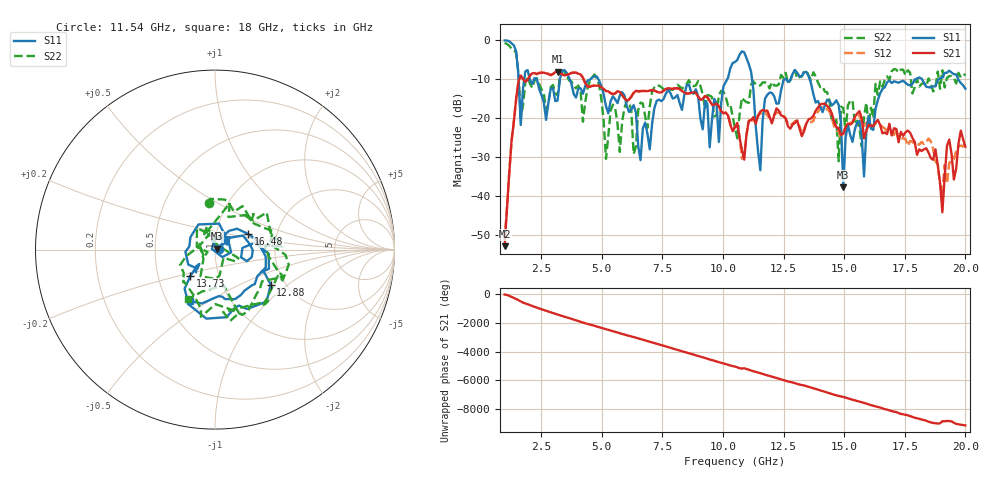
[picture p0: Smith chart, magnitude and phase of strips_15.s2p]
!Agilent Technologies,N5230A,MY45001629,A.07.50.67
!Agilent N5230A: A.07.50.67
!Date: Monday, June 05, 2017 16:33:19
!Correction: S11(Full 2 Port(1,2))
!S21(Full 2 Port(1,2))
!S12(Full 2 Port(1,2))
!S22(Full 2 Port(1,2))
!S2P File: Measurements: S11, S21, S12, S22:
# Hz S  dB  R 50
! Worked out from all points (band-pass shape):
!   201 points, 1 GHz to 20 GHz, reference 50 ohm
!   highest |S21| = -8.15 dB at 3.185 GHz (marker M1); lowest = -52.8 dB at 1 GHz (marker M2)
!   |S21| within 3 dB of the highest: 1.56 GHz to 4.328 GHz (2.768 GHz wide, 94 % of centre)
!   lowest |S11| = -37.7 dB at 14.96 GHz (marker M3), VSWR 1.03, Z = 51.2 + j0.606 ohm
!   |S11| at or under -10 dB: 4.854 GHz to 10.19 GHz (5.337 GHz wide, 70.9 % of centre); 11.2 GHz to 12.58 GHz (1.376 GHz wide, 11.6 % of centre); 13.57 GHz to 17.98 GHz (4.405 GHz wide, 27.9 % of centre)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
!   |S22| runs from -31.1 to -0.9 dB; largest |S21 - S12| = 0.032
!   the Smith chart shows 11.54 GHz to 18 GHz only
!   S11 on the Smith chart (normalised r, x): 11.54 GHz: 1.04, +0.01; 12.88 GHz: 1.69, -0.76; 13.73 GHz: 0.73, -0.22; 16.48 GHz: 1.43, +0.26; 18 GHz: 0.65, -0.42
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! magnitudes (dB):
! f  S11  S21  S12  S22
! 1 GHz  -0.2  -52.8  -51.3  -0.9
! 1.57 GHz  -8.9  -10.7  -10.6  -8.6
! 3.185 GHz  -15.6  -8.2  -8.2  -14.2
! 4.23 GHz  -13.8  -9.7  -9.7  -21.0
! 6.605 GHz  -30.8  -13.2  -13.2  -16.1
! 7.365 GHz  -15.3  -13.5  -13.5  -11.8
! 9.455 GHz  -27.5  -15.6  -15.6  -14.3
! 10.5 GHz  -5.7  -22.3  -22.4  -22.6
! 11.16 GHz  -8.3  -20.5  -20.6  -11.5
! 11.54 GHz  -33.4  -18.3  -18.9  -11.7
! 11.73 GHz  -15.2  -18.2  -18.2  -10.9
! 12.88 GHz  -8.7  -21.7  -21.4  -8.8
! 13.73 GHz  -13.9  -19.5  -20.8  -8.3
! 14.78 GHz  -16.7  -22.6  -23.5  -31.1
! 14.96 GHz  -37.7  -24.1  -23.9  -17.5
! 15.72 GHz  -24.6  -20.0  -21.3  -27.3
! 16.48 GHz  -13.7  -21.8  -21.8  -10.7
! 16.86 GHz  -10.5  -21.5  -23.2  -10.3
! 18 GHz  -9.9  -29.4  -26.8  -10.0
! 19.05 GHz  -9.7  -44.1  -39.7  -7.8
! 19.24 GHz  -8.5  -27.1  -36.8  -9.8
! 20 GHz  -12.5  -27.4  -26.1  -8.7
